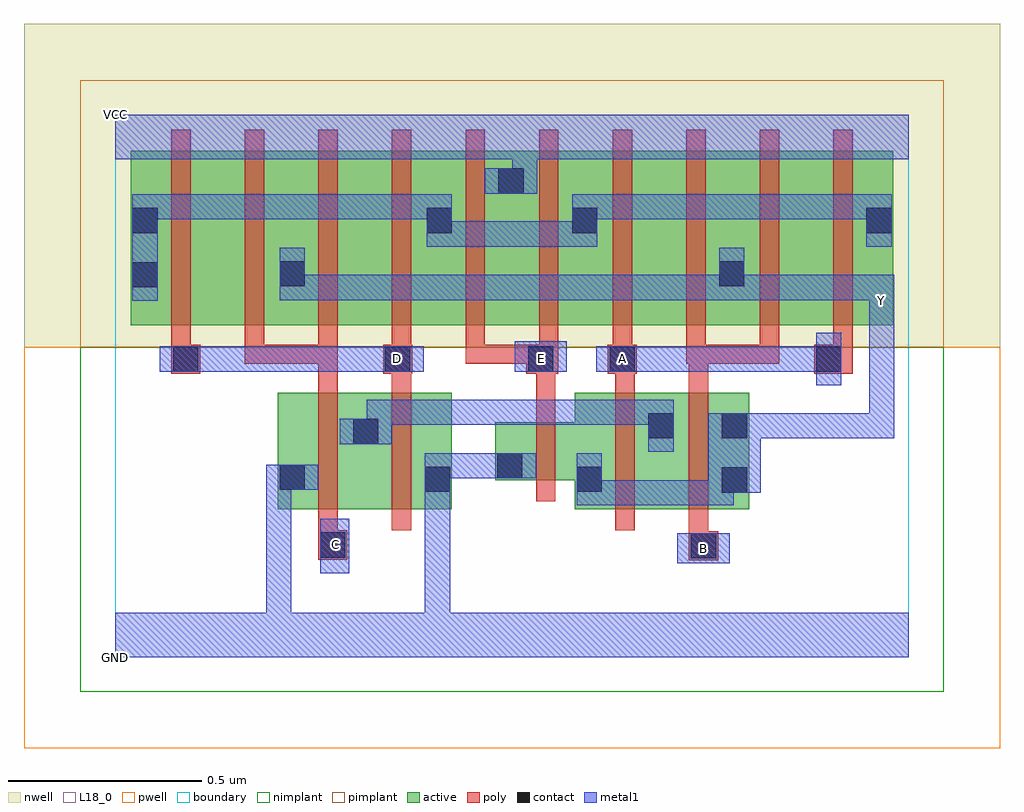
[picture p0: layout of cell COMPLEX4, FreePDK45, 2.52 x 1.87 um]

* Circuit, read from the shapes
.subckt COMPLEX4 A B C D E GND VCC Y
M1 n1 C GND VSUBS nfet w=0.3u l=0.05u
M2 GND D n1 VSUBS nfet w=0.3u l=0.05u
M3 Y E GND VSUBS nfet w=0.15u l=0.05u
M4 n1 A Y VSUBS nfet w=0.3u l=0.05u
M5 Y B n1 VSUBS nfet w=0.3u l=0.05u
M6 n2 D n3 n4 pfet w=0.45u l=0.05u
M7 Y C n2 n4 pfet w=0.45u l=0.05u
M8 n5 C Y n4 pfet w=0.45u l=0.05u
M9 n3 D n5 n4 pfet w=0.45u l=0.05u
M10 VCC E n3 n4 pfet w=0.45u l=0.05u m=2
M11 n6 A n3 n4 pfet w=0.45u l=0.05u
M12 Y B n6 n4 pfet w=0.45u l=0.05u
M13 n7 B Y n4 pfet w=0.45u l=0.05u
M14 n3 A n7 n4 pfet w=0.45u l=0.05u
.ends

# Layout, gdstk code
import gdstk
lib = gdstk.Library(unit=1e-6, precision=1e-09)
def R(c, l, rs):  # rectangles x0, y0, x1, y1
    for r in rs: c.add(gdstk.rectangle(r[:2], r[2:], *l))
def A(c, l, x, y, w, h, nx, ny, dx, dy):  # array of equal rectangles
    R(c, l, [(x+i*dx, y+j*dy, x+i*dx+w, y+j*dy+h) for i in range(nx) for j in range(ny)])
active = (1, 0)
pwell = (2, 0)
nwell = (3, 0)
nimplant = (4, 0)
pimplant = (5, 0)
poly = (9, 0)
contact = (10, 0)
metal1 = (11, 0)
L18_0 = (18, 0)
boundary = (235, 0)

complex4 = lib.new_cell('COMPLEX4')
R(complex4, active, [(0.42,0.382,0.685,0.682), (0.42,0.382,0.495,0.682), (0.61,0.382,0.87,0.682), (0.795,0.382,0.87,0.547), (1.187,0.382,1.447,0.682), (1.372,0.382,1.637,0.682), (0.61,0.407,0.685,0.682), (1.562,0.407,1.637,0.682), (1.187,0.422,1.262,0.547), (1.372,0.445,1.447,0.635), (0.982,0.457,1.262,0.607), (0.982,0.457,1.057,0.547), (0.04,0.857,0.265,1.307), (0.04,0.857,0.145,1.2), (0.265,0.857,0.495,1.307), (0.42,0.857,0.645,1.307), (0.42,0.857,0.495,1.07), (0.645,0.857,0.875,1.307), (0.8,0.857,0.875,1.2), (0.8,0.857,1.06,1.307), (0.985,0.857,1.25,1.307), (0.985,0.857,1.06,1.307), (1.175,0.857,1.25,1.2), (1.175,0.857,1.405,1.307), (1.405,0.857,1.63,1.307), (1.555,0.857,1.785,1.307), (1.555,0.857,1.63,1.07), (1.785,0.857,2.01,1.307), (1.935,0.857,2.01,1.2)])
R(complex4, pwell, [(-0.235,-0.235,2.285,0.8)])
R(complex4, nwell, [(-0.235,0.8,2.285,1.635)])
R(complex4, nimplant, [(-0.09,-0.09,2.14,0.8)])
R(complex4, pimplant, [(-0.09,0.8,2.14,1.49)])
A(complex4, poly, 0.145, 0.757, 0.05, 0.095, 10, 1, 0.19, 0)
A(complex4, poly, 0.145, 0.802, 0.05, 0.56, 10, 1, 0.19, 0)
R(complex4, poly, [(1.482,0.25,1.557,0.325), (0.525,0.252,0.6,0.327), (1.482,0.275,1.532,0.377), (0.525,0.277,0.575,0.377), (0.525,0.327,0.575,0.737), (0.715,0.327,0.765,0.737), (1.292,0.327,1.342,0.737), (1.482,0.327,1.532,0.737), (1.087,0.402,1.137,0.662), (1.087,0.612,1.137,0.782), (0.525,0.687,0.575,0.807), (0.715,0.687,0.765,0.782), (1.292,0.687,1.342,0.782), (1.482,0.687,1.532,0.807), (0.145,0.732,0.22,0.807), (0.692,0.732,0.767,0.807), (1.062,0.732,1.145,0.807), (1.272,0.732,1.347,0.807), (1.805,0.732,1.905,0.807), (0.335,0.757,0.385,0.807), (0.335,0.757,0.575,0.807), (0.525,0.757,0.575,0.807), (0.525,0.757,0.575,0.807), (0.525,0.757,0.575,0.807), (0.905,0.757,0.955,0.807), (0.905,0.757,0.955,0.807), (0.905,0.757,0.955,0.807), (0.905,0.757,1.112,0.807), (1.475,0.757,1.532,0.807), (1.482,0.757,1.715,0.807), (1.482,0.757,1.532,0.807), (1.482,0.757,1.532,0.807), (1.665,0.757,1.715,0.807)])
R(complex4, contact, [(1.487,0.255,1.552,0.32), (0.53,0.257,0.595,0.322), (1.567,0.425,1.632,0.49), (0.8,0.427,0.865,0.492), (1.192,0.427,1.257,0.492), (0.425,0.432,0.49,0.497), (0.987,0.462,1.052,0.527), (0.615,0.55,0.68,0.615), (1.377,0.565,1.442,0.63), (1.567,0.565,1.632,0.63), (0.15,0.737,0.215,0.802), (0.697,0.737,0.762,0.802), (1.067,0.737,1.132,0.802), (1.277,0.737,1.342,0.802), (1.81,0.737,1.875,0.802), (0.045,0.955,0.11,1.02), (0.425,0.957,0.49,1.022), (1.56,0.957,1.625,1.022), (0.045,1.095,0.11,1.16), (0.805,1.095,0.87,1.16), (1.18,1.095,1.245,1.16), (1.94,1.095,2.005,1.16), (0.99,1.197,1.055,1.262)])
R(complex4, metal1, [(0,0,2.05,0.115), (0.39,0.05,0.455,0.115), (0.39,0.05,0.455,0.115), (0.39,0.05,0.455,0.115), (0.39,0.05,0.455,0.115), (0.39,0.05,0.455,0.115), (0.39,0.05,0.455,0.115), (0.39,0.05,0.455,0.497), (0.8,0.05,0.865,0.457), (0.53,0.217,0.605,0.357), (1.452,0.242,1.587,0.32), (0.8,0.392,0.865,0.457), (0.8,0.392,0.865,0.457), (0.8,0.392,0.865,0.457), (0.8,0.392,0.865,0.457), (0.8,0.392,0.865,0.457), (0.8,0.392,0.865,0.457), (0.8,0.392,0.865,0.527), (1.192,0.392,1.257,0.457), (1.192,0.392,1.257,0.457), (1.192,0.392,1.257,0.527), (1.192,0.392,1.46,0.457), (1.395,0.392,1.46,0.457), (1.395,0.392,1.515,0.457), (1.45,0.392,1.515,0.457), (1.45,0.392,1.597,0.457), (1.532,0.392,1.597,0.457), (1.532,0.392,1.597,0.49), (1.532,0.425,1.667,0.63), (0.39,0.432,0.525,0.497), (0.8,0.462,0.865,0.527), (0.8,0.462,0.865,0.527), (0.8,0.462,1.017,0.527), (0.952,0.462,1.017,0.527), (0.952,0.462,1.017,0.527), (0.952,0.462,1.087,0.527), (1.377,0.53,1.442,0.665), (0.58,0.55,0.715,0.615), (0.65,0.55,0.715,0.615), (0.65,0.55,0.715,0.665), (1.602,0.565,1.667,0.63), (1.602,0.565,1.667,0.63), (1.602,0.565,1.867,0.63), (1.802,0.565,1.867,0.63), (1.802,0.565,2.012,0.63), (1.947,0.565,2.012,0.63), (1.947,0.565,2.012,0.63), (1.947,0.565,2.012,0.63), (1.947,0.565,2.012,0.917), (0.65,0.6,0.852,0.665), (0.787,0.6,0.852,0.665), (0.787,0.6,0.852,0.665), (0.787,0.6,0.852,0.665), (0.787,0.6,1.087,0.665), (1.022,0.6,1.087,0.665), (1.022,0.6,1.087,0.665), (1.022,0.6,1.087,0.665), (1.022,0.6,1.225,0.665), (1.16,0.6,1.225,0.665), (1.16,0.6,1.225,0.665), (1.16,0.6,1.225,0.665), (1.16,0.6,1.442,0.665), (1.81,0.702,1.875,0.837), (0.115,0.737,0.25,0.802), (0.185,0.737,0.25,0.802), (0.185,0.737,0.25,0.802), (0.185,0.737,0.44,0.802), (0.375,0.737,0.44,0.802), (0.375,0.737,0.44,0.802), (0.375,0.737,0.44,0.802), (0.375,0.737,0.577,0.802), (0.512,0.737,0.577,0.802), (0.512,0.737,0.662,0.802), (0.597,0.737,0.662,0.802), (0.597,0.737,0.727,0.802), (0.662,0.737,0.797,0.802), (1.032,0.737,1.167,0.815), (1.242,0.737,1.377,0.802), (1.312,0.737,1.46,0.802), (1.395,0.737,1.46,0.802), (1.395,0.737,1.515,0.802), (1.45,0.737,1.515,0.802), (1.45,0.737,1.652,0.802), (1.587,0.737,1.652,0.802), (1.587,0.737,1.652,0.802), (1.587,0.737,1.652,0.802), (1.587,0.737,1.805,0.802), (1.74,0.737,1.805,0.802), (1.74,0.737,1.875,0.802), (1.947,0.852,2.012,0.987), (0.045,0.92,0.11,1.195), (0.425,0.922,0.49,1.057), (0.425,0.922,0.577,0.987), (0.512,0.922,0.577,0.987), (0.512,0.922,0.715,0.987), (0.65,0.922,0.715,0.987), (0.65,0.922,0.715,0.987), (0.65,0.922,0.715,0.987), (0.65,0.922,0.88,0.987), (0.815,0.922,0.88,0.987), (0.815,0.922,0.88,0.987), (0.815,0.922,0.88,0.987), (0.815,0.922,1.087,0.987), (1.022,0.922,1.087,0.987), (1.022,0.922,1.087,0.987), (1.022,0.922,1.087,0.987), (1.022,0.922,1.225,0.987), (1.16,0.922,1.225,0.987), (1.16,0.922,1.225,0.987), (1.16,0.922,1.225,0.987), (1.16,0.922,1.46,0.987), (1.395,0.922,1.46,0.987), (1.395,0.922,1.515,0.987), (1.45,0.922,1.515,0.987), (1.45,0.922,1.625,0.987), (1.56,0.922,1.625,1.057), (1.56,0.922,1.652,0.987), (1.587,0.922,1.652,0.987), (1.587,0.922,1.867,0.987), (1.802,0.922,1.867,0.987), (1.802,0.922,2.012,0.987), (1.947,0.922,2.012,0.987), (1.947,0.922,2.012,0.987), (1.947,0.922,2.012,0.987), (1.947,0.922,2.012,0.987), (0.805,1.06,0.87,1.125), (0.805,1.06,0.87,1.125), (0.805,1.06,0.87,1.195), (0.805,1.06,1.087,1.125), (1.022,1.06,1.087,1.125), (1.022,1.06,1.087,1.125), (1.022,1.06,1.087,1.125), (1.022,1.06,1.245,1.125), (1.18,1.06,1.245,1.195), (1.94,1.06,2.005,1.195), (0.045,1.13,0.302,1.195), (0.237,1.13,0.302,1.195), (0.237,1.13,0.302,1.195), (0.237,1.13,0.302,1.195), (0.237,1.13,0.302,1.195), (0.237,1.13,0.302,1.195), (0.237,1.13,0.44,1.195), (0.375,1.13,0.44,1.195), (0.375,1.13,0.44,1.195), (0.375,1.13,0.44,1.195), (0.375,1.13,0.577,1.195), (0.512,1.13,0.577,1.195), (0.512,1.13,0.715,1.195), (0.65,1.13,0.715,1.195), (0.65,1.13,0.715,1.195), (0.65,1.13,0.715,1.195), (0.65,1.13,0.87,1.195), (1.18,1.13,1.245,1.195), (1.18,1.13,1.245,1.195), (1.18,1.13,1.395,1.195), (1.33,1.13,1.395,1.195), (1.33,1.13,1.515,1.195), (1.45,1.13,1.515,1.195), (1.45,1.13,1.652,1.195), (1.587,1.13,1.652,1.195), (1.587,1.13,1.652,1.195), (1.587,1.13,1.652,1.195), (1.587,1.13,1.867,1.195), (1.802,1.13,1.867,1.195), (1.802,1.13,2.005,1.195), (1.94,1.13,2.005,1.195), (1.94,1.13,2.005,1.195), (0.955,1.197,1.09,1.262), (1.025,1.197,1.09,1.35), (0,1.285,2.05,1.4)])
R(complex4, L18_0, [(0,0,2.05,0.115), (0.39,0.05,0.455,0.115), (0.39,0.05,0.455,0.115), (0.39,0.05,0.455,0.115), (0.39,0.05,0.455,0.115), (0.39,0.05,0.455,0.115), (0.39,0.05,0.455,0.115), (0.39,0.05,0.455,0.497), (0.8,0.05,0.865,0.457), (0.53,0.217,0.605,0.357), (1.452,0.242,1.587,0.32), (1.487,0.247,1.552,0.312), (0.537,0.257,0.602,0.322), (0.8,0.392,0.865,0.457), (0.8,0.392,0.865,0.457), (0.8,0.392,0.865,0.457), (0.8,0.392,0.865,0.457), (0.8,0.392,0.865,0.457), (0.8,0.392,0.865,0.457), (0.8,0.392,0.865,0.527), (1.192,0.392,1.257,0.457), (1.192,0.392,1.257,0.457), (1.192,0.392,1.257,0.527), (1.192,0.392,1.46,0.457), (1.395,0.392,1.46,0.457), (1.395,0.392,1.515,0.457), (1.45,0.392,1.515,0.457), (1.45,0.392,1.597,0.457), (1.532,0.392,1.597,0.457), (1.532,0.392,1.597,0.49), (1.532,0.425,1.667,0.63), (0.39,0.432,0.525,0.497), (0.8,0.462,0.865,0.527), (0.8,0.462,0.865,0.527), (0.8,0.462,1.017,0.527), (0.952,0.462,1.087,0.527), (0.952,0.462,1.017,0.527), (0.952,0.462,1.017,0.527), (1.602,0.565,1.667,0.63), (1.602,0.565,1.667,0.63), (1.602,0.565,1.867,0.63), (1.802,0.565,1.867,0.63), (1.802,0.565,2.012,0.63), (1.947,0.565,2.012,0.63), (1.947,0.565,2.012,0.63), (1.947,0.565,2.012,0.63), (1.947,0.565,2.012,0.917), (1.81,0.702,1.875,0.837), (0.115,0.737,0.25,0.802), (0.185,0.737,0.25,0.802), (0.185,0.737,0.25,0.802), (0.185,0.737,0.44,0.802), (0.375,0.737,0.44,0.802), (0.375,0.737,0.44,0.802), (0.375,0.737,0.44,0.802), (0.375,0.737,0.577,0.802), (0.512,0.737,0.577,0.802), (0.512,0.737,0.662,0.802), (0.597,0.737,0.662,0.802), (0.597,0.737,0.727,0.802), (0.662,0.737,0.797,0.802), (0.697,0.737,0.762,0.802), (1.032,0.737,1.167,0.815), (1.067,0.737,1.132,0.802), (1.242,0.737,1.377,0.802), (1.277,0.737,1.342,0.802), (1.312,0.737,1.46,0.802), (1.395,0.737,1.46,0.802), (1.395,0.737,1.515,0.802), (1.45,0.737,1.515,0.802), (1.45,0.737,1.652,0.802), (1.587,0.737,1.652,0.802), (1.587,0.737,1.652,0.802), (1.587,0.737,1.652,0.802), (1.587,0.737,1.805,0.802), (1.74,0.737,1.875,0.802), (1.74,0.737,1.805,0.802), (1.947,0.852,2.012,0.987), (1.947,0.887,2.012,0.952), (0.425,0.922,0.49,1.057), (0.425,0.922,0.577,0.987), (0.512,0.922,0.577,0.987), (0.512,0.922,0.715,0.987), (0.65,0.922,0.715,0.987), (0.65,0.922,0.715,0.987), (0.65,0.922,0.715,0.987), (0.65,0.922,0.88,0.987), (0.815,0.922,0.88,0.987), (0.815,0.922,0.88,0.987), (0.815,0.922,0.88,0.987), (0.815,0.922,1.087,0.987), (1.022,0.922,1.087,0.987), (1.022,0.922,1.087,0.987), (1.022,0.922,1.087,0.987), (1.022,0.922,1.225,0.987), (1.16,0.922,1.225,0.987), (1.16,0.922,1.225,0.987), (1.16,0.922,1.225,0.987), (1.16,0.922,1.46,0.987), (1.395,0.922,1.46,0.987), (1.395,0.922,1.515,0.987), (1.45,0.922,1.515,0.987), (1.45,0.922,1.625,0.987), (1.56,0.922,1.625,1.057), (1.56,0.922,1.652,0.987), (1.587,0.922,1.652,0.987), (1.587,0.922,1.867,0.987), (1.802,0.922,1.867,0.987), (1.802,0.922,2.012,0.987), (1.947,0.922,2.012,0.987), (1.947,0.922,2.012,0.987), (1.947,0.922,2.012,0.987), (1.947,0.922,2.012,0.987), (0.955,1.197,1.09,1.262), (1.025,1.197,1.09,1.35), (0,1.285,2.05,1.4)])
R(complex4, boundary, [(0,0,2.05,1.4)])
complex4.add(gdstk.Label('A', (1.31,0.77), layer=11, texttype=0))
complex4.add(gdstk.Label('B', (1.52,0.28), layer=11, texttype=0))
complex4.add(gdstk.Label('C', (0.57,0.29), layer=11, texttype=0))
complex4.add(gdstk.Label('D', (0.73,0.77), layer=11, texttype=0))
complex4.add(gdstk.Label('E', (1.1,0.77), layer=11, texttype=0))
complex4.add(gdstk.Label('Y', (1.98,0.92), layer=11, texttype=0))
complex4.add(gdstk.Label('VCC', (0,1.4), layer=11, texttype=0))
complex4.add(gdstk.Label('GND', (0,0), layer=11, texttype=0))

lib.write_gds('COMPLEX4.gds')
